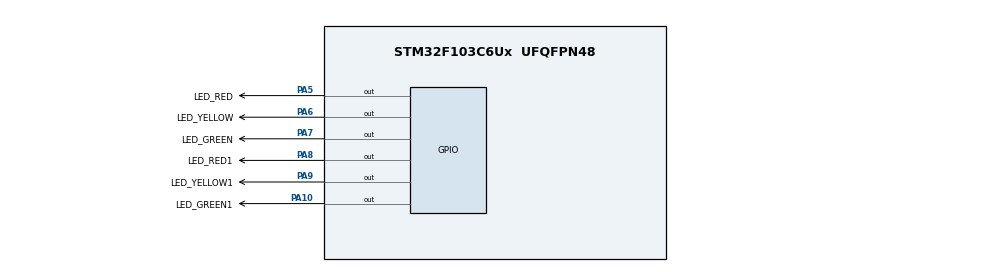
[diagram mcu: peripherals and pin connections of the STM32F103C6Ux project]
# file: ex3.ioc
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Mcu.Family=STM32F1
Mcu.Name=STM32F103C6Ux
Mcu.Package=UFQFPN48
NVIC.PriorityGroup=NVIC_PRIORITYGROUP_4
PA10.GPIO_Label=LED_GREEN1
PA10.Signal=GPIO_Output
PA5.GPIO_Label=LED_RED
PA5.Signal=GPIO_Output
PA6.GPIO_Label=LED_YELLOW
PA6.Signal=GPIO_Output
PA7.GPIO_Label=LED_GREEN
PA7.Signal=GPIO_Output
PA8.GPIO_Label=LED_RED1
PA8.Signal=GPIO_Output
PA9.GPIO_Label=LED_YELLOW1
PA9.Signal=GPIO_Output
ProjectManager.HeapSize=0x200
ProjectManager.StackSize=0x400
ProjectManager.TargetToolchain=STM32CubeIDE
RCC.APB1Freq_Value=8000000
RCC.APB2Freq_Value=8000000
VP_SYS_VS_ND.Mode=No_Debug
board=custom

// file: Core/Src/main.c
/* USER CODE BEGIN Header */
/**
  ******************************************************************************
  * @file           : main.c
  * @brief          : Main program body
  ******************************************************************************
  * @attention
  *
  * <h2><center>&copy; Copyright (c) 2025 STMicroelectronics.
  * All rights reserved.</center></h2>
  *
  * This software component is licensed by ST under BSD 3-Clause license,
  * the "License"; You may not use this file except in compliance with the
  * License. You may obtain a copy of the License at:
  *                        opensource.org/licenses/BSD-3-Clause
  *
  ******************************************************************************
  */
/* USER CODE END Header */
#include "main.h"

void SystemClock_Config(void);
static void MX_GPIO_Init(void);

int main(void)
{

  /* MCU Configuration--------------------------------------------------------*/

  /* Reset of all peripherals, Initializes the Flash interface and the Systick. */
  HAL_Init();

  /* Configure the system clock */
  SystemClock_Config();

  /* Initialize all configured peripherals */
  MX_GPIO_Init();
  /* USER CODE BEGIN 2 */
  int count = 0;
  /* USER CODE END 2 */

  /* Infinite loop */
  /* USER CODE BEGIN WHILE */
  while (1)
  {
	  //green1 and red
	  if(count == 0 || count == 1 || count == 2 || count == 3){
		  //turn on red and green1
		  HAL_GPIO_WritePin(LED_RED_GPIO_Port, LED_RED_Pin, GPIO_PIN_RESET);
		  HAL_GPIO_WritePin(LED_GREEN1_GPIO_Port, LED_GREEN1_Pin, GPIO_PIN_RESET);
		  //turn off green, yellow, red1, yellow1
		  HAL_GPIO_WritePin(LED_GREEN_GPIO_Port, LED_GREEN_Pin, GPIO_PIN_SET);
		  HAL_GPIO_WritePin(LED_YELLOW_GPIO_Port, LED_YELLOW_Pin, GPIO_PIN_SET);
		  HAL_GPIO_WritePin(LED_RED1_GPIO_Port, LED_RED1_Pin, GPIO_PIN_SET);
		  HAL_GPIO_WritePin(LED_YELLOW1_GPIO_Port, LED_YELLOW1_Pin, GPIO_PIN_SET);
		  count++;
	  }

	  //yellow1 and red
	  if(count == 4 || count == 5 || count == 6){
		  //turn on yellow1
		  HAL_GPIO_WritePin(LED_YELLOW1_GPIO_Port, LED_YELLOW1_Pin, GPIO_PIN_RESET);
		  //turn off green1
		  HAL_GPIO_WritePin(LED_GREEN1_GPIO_Port, LED_GREEN1_Pin, GPIO_PIN_SET);
		  count++;
	  }

	  //green and red1
	  if(count == 7  || count == 8 || count == 9 || count == 10){
		  //turn on green, red1
		  HAL_GPIO_WritePin(LED_GREEN_GPIO_Port, LED_GREEN_Pin, GPIO_PIN_RESET);
		  HAL_GPIO_WritePin(LED_RED1_GPIO_Port, LED_RED1_Pin, GPIO_PIN_RESET);
		  //turn off yellow1, red
		  HAL_GPIO_WritePin(LED_YELLOW1_GPIO_Port, LED_YELLOW1_Pin, GPIO_PIN_SET);
		  HAL_GPIO_WritePin(LED_RED_GPIO_Port, LED_RED_Pin, GPIO_PIN_SET);
		  count++;
	  }

	  //yellow and red1
	  if(count == 11 || count == 12){
		  //turn on yellow
		  HAL_GPIO_WritePin(LED_YELLOW_GPIO_Port, LED_YELLOW_Pin, GPIO_PIN_RESET);
		  //turn off greeen
		  HAL_GPIO_WritePin(LED_GREEN_GPIO_Port, LED_GREEN_Pin, GPIO_PIN_SET);
		  count++;
	  }

	  if(count == 13){
		  count = 0;
	  }

	  HAL_Delay(1000);
    /* USER CODE END WHILE */

  }
}

void SystemClock_Config(void)
{
  RCC_OscInitTypeDef RCC_OscInitStruct = {0};
  RCC_ClkInitTypeDef RCC_ClkInitStruct = {0};

  /** Initializes the RCC Oscillators according to the specified parameters
  * in the RCC_OscInitTypeDef structure.
  */
  RCC_OscInitStruct.OscillatorType = RCC_OSCILLATORTYPE_HSI;
  RCC_OscInitStruct.HSIState = RCC_HSI_ON;
  RCC_OscInitStruct.HSICalibrationValue = RCC_HSICALIBRATION_DEFAULT;
  RCC_OscInitStruct.PLL.PLLState = RCC_PLL_NONE;
  if (HAL_RCC_OscConfig(&RCC_OscInitStruct) != HAL_OK)
  {
    Error_Handler();
  }
  /** Initializes the CPU, AHB and APB buses clocks
  */
  RCC_ClkInitStruct.ClockType = RCC_CLOCKTYPE_HCLK|RCC_CLOCKTYPE_SYSCLK
                              |RCC_CLOCKTYPE_PCLK1|RCC_CLOCKTYPE_PCLK2;
  RCC_ClkInitStruct.SYSCLKSource = RCC_SYSCLKSOURCE_HSI;
  RCC_ClkInitStruct.AHBCLKDivider = RCC_SYSCLK_DIV1;
  RCC_ClkInitStruct.APB1CLKDivider = RCC_HCLK_DIV1;
  RCC_ClkInitStruct.APB2CLKDivider = RCC_HCLK_DIV1;

  if (HAL_RCC_ClockConfig(&RCC_ClkInitStruct, FLASH_LATENCY_0) != HAL_OK)
  {
    Error_Handler();
  }
}

static void MX_GPIO_Init(void)
{
  GPIO_InitTypeDef GPIO_InitStruct = {0};

  /* GPIO Ports Clock Enable */
  __HAL_RCC_GPIOA_CLK_ENABLE();

  /*Configure GPIO pin Output Level */
  HAL_GPIO_WritePin(GPIOA, LED_RED_Pin|LED_YELLOW_Pin|LED_GREEN_Pin|LED_RED1_Pin
                          |LED_YELLOW1_Pin|LED_GREEN1_Pin, GPIO_PIN_RESET);

  /*Configure GPIO pins : LED_RED_Pin LED_YELLOW_Pin LED_GREEN_Pin LED_RED1_Pin
                           LED_YELLOW1_Pin LED_GREEN1_Pin */
  GPIO_InitStruct.Pin = LED_RED_Pin|LED_YELLOW_Pin|LED_GREEN_Pin|LED_RED1_Pin
                          |LED_YELLOW1_Pin|LED_GREEN1_Pin;
  GPIO_InitStruct.Mode = GPIO_MODE_OUTPUT_PP;
  GPIO_InitStruct.Pull = GPIO_NOPULL;
  GPIO_InitStruct.Speed = GPIO_SPEED_FREQ_LOW;
  HAL_GPIO_Init(GPIOA, &GPIO_InitStruct);

}

void Error_Handler(void)
{
  __disable_irq();
  while (1)
  {
  }
}

/************************ (C) COPYRIGHT STMicroelectronics *****END OF FILE****/
